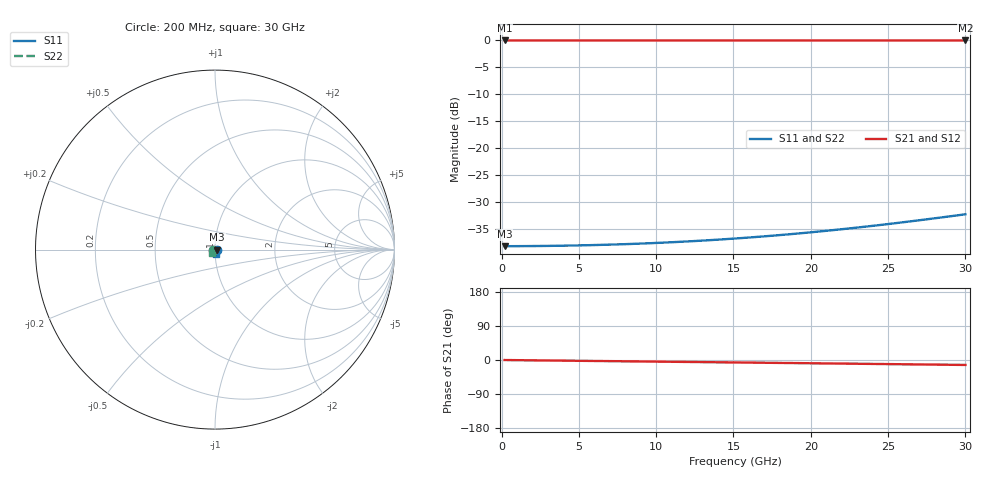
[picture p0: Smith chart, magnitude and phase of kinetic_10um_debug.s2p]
! Touchstone file exported from HFSS 2026.1.0
!  Generated:  11:49:43 AM Aug 24, 2026
!  Design:  HFSSDesign_Kinetic_debug
!  Project:  kinetic_stub_sweep
!  Setup:  Setup1
!  Solution:  Sweep_discrete_debug
! Variables:
!  stub_length = 2.5um
# GHz S MA R 50.000000
! Terminal data exported
! Port[1] = Port1
! Port[2] = Port2
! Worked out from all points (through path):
!   61 points, 200 MHz to 30 GHz, reference 50 ohm
!   highest |S21| = 0.00 dB at 200 MHz (marker M1); lowest = 0.0 dB at 30 GHz (marker M2)
!   group delay of S21, straight-line fit = 1.21 ps
!   lowest |S11| = -38.1 dB at 200 MHz (marker M3), VSWR 1.03, Z = 51.3 - j0.0113 ohm
!   |S11| at or under -10 dB: start of sweep to end of sweep
!   |S22| runs from -38.1 to -32.2 dB; largest |S21 - S12| = 2e-12
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0.2  0.01243 -0.5  0.9999 -0.1  0.9999 -0.1  0.01243 -179.7
! Gamma 0 173.390320234158 2.0204056631064E-32 171.041419714197
! Port Impedance 50 0 50 0
1.193333  0.01244 -3.0  0.9999 -0.5  0.9999 -0.5  0.01244 -178.0
2.683333  0.01249 -6.8  0.9999 -1.1  0.9999 -1.1  0.01249 -175.4
4.173333  0.01258 -10.7  0.9999 -1.8  0.9999 -1.8  0.01258 -172.9
5.166667  0.01265 -13.2  0.9999 -2.2  0.9999 -2.2  0.01265 -171.2
6.656667  0.01281 -17.0  0.9999 -2.8  0.9999 -2.8  0.01281 -168.6
8.146667  0.013 -20.9  0.9999 -3.5  0.9999 -3.5  0.013 -166.0
9.636667  0.01325 -24.8  0.9999 -4.1  0.9999 -4.1  0.01325 -163.4
10.63  0.01344 -27.4  0.9999 -4.5  0.9999 -4.5  0.01344 -161.7
12.12  0.01378 -31.3  0.9999 -5.2  0.9999 -5.2  0.01378 -159.1
13.11333  0.01404 -33.9  0.9999 -5.6  0.9999 -5.6  0.01404 -157.3
15.1  0.01464 -39.1  0.9999 -6.4  0.9999 -6.4  0.01464 -153.8
16.09333  0.01498 -41.7  0.9999 -6.9  0.9999 -6.9  0.01498 -152.1
17.58333  0.01557 -45.5  0.9999 -7.5  0.9999 -7.5  0.01557 -149.5
18.57667  0.01601 -48.1  0.9999 -8.0  0.9999 -8.0  0.01601 -147.9
20.06667  0.01674 -51.8  0.9999 -8.6  0.9999 -8.6  0.01674 -145.4
21.06  0.01729 -54.3  0.9999 -9.0  0.9999 -9.0  0.01729 -143.8
22.55  0.01819 -57.9  0.9998 -9.7  0.9998 -9.7  0.01819 -141.5
24.04  0.0192 -61.4  0.9998 -10.4  0.9998 -10.4  0.0192 -139.4
25.53  0.02034 -64.7  0.9998 -11.0  0.9998 -11.0  0.02034 -137.3
27.51667  0.02206 -69.0  0.9998 -11.9  0.9998 -11.9  0.02206 -134.9
30  0.02454 -74.0  0.9997 -13.1  0.9997 -13.1  0.02454 -132.2
